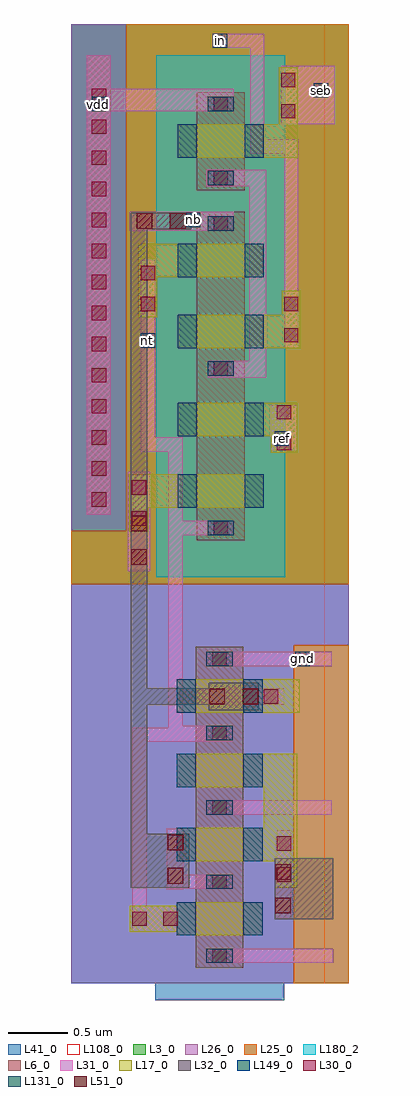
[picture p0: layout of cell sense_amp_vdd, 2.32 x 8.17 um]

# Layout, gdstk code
from math import pi, radians
import gdstk
lib = gdstk.Library(unit=1e-6, precision=1e-09)
def R(c, l, rs):  # rectangles x0, y0, x1, y1
    for r in rs: c.add(gdstk.rectangle(r[:2], r[2:], *l))
def A(c, l, x, y, w, h, nx, ny, dx, dy):  # array of equal rectangles
    R(c, l, [(x+i*dx, y+j*dy, x+i*dx+w, y+j*dy+h) for i in range(nx) for j in range(ny)])
L3_0 = (3, 0)
L6_0 = (6, 0)
L17_0 = (17, 0)
L25_0 = (25, 0)
L26_0 = (26, 0)
L30_0 = (30, 0)
L31_0 = (31, 0)
L32_0 = (32, 0)
L41_0 = (41, 0)
L51_0 = (51, 0)
L108_0 = (108, 0)
L131_0 = (131, 0)
L149_0 = (149, 0)
L180_2 = (180, 2)

pc_ct = lib.new_cell('pc_ct')
R(pc_ct, L30_0, [(0,0,0.12,0.12)])

nsvt25_cdns_585150321350 = lib.new_cell('nsvt25_CDNS_585150321350')
R(nsvt25_cdns_585150321350, L6_0, [(-0.27,0,0,0.4), (-0.27,0,0.55,0.4), (0.28,0,0.55,0.4)])
R(nsvt25_cdns_585150321350, L17_0, [(0,-0.16,0.28,0.56)])
R(nsvt25_cdns_585150321350, L26_0, [(-0.4,-0.36,0.68,0.76)])
R(nsvt25_cdns_585150321350, L31_0, [(-0.23,0.09,-0.11,0.31), (0.39,0.09,0.51,0.31)])
R(nsvt25_cdns_585150321350, L41_0, [(-0.54,-0.34,0.82,0.74)])
R(nsvt25_cdns_585150321350, L131_0, [(-0.23,0.09,-0.11,0.31), (0.39,0.09,0.51,0.31)])
R(nsvt25_cdns_585150321350, L149_0, [(0,-0.16,0.28,0), (0,0.4,0.28,0.56)])
r = gdstk.Reference(pc_ct, (0.39,0.14)); r.repetition = gdstk.Repetition(1, 1, v1=(0.26,0), v2=(0,0.26)); nsvt25_cdns_585150321350.add(r)
r = gdstk.Reference(pc_ct, (-0.23,0.14)); r.repetition = gdstk.Repetition(1, 1, v1=(0.26,0), v2=(0,0.26)); nsvt25_cdns_585150321350.add(r)
nsvt25_cdns_585150321350.add(gdstk.Label('d', (0.28,0), layer=6, texttype=0))
nsvt25_cdns_585150321350.add(gdstk.Label('s', (0,0), layer=6, texttype=0))
nsvt25_cdns_585150321350.add(gdstk.Label('d', (0.415,0.2), layer=127, texttype=0))
nsvt25_cdns_585150321350.add(gdstk.Label('s', (-0.135,0.2), layer=127, texttype=0))
nsvt25_cdns_585150321350.add(gdstk.Label('d', (0.45,0.2), layer=131, texttype=0))
nsvt25_cdns_585150321350.add(gdstk.Label('s', (-0.17,0.2), layer=131, texttype=0))
nsvt25_cdns_585150321350.add(gdstk.Label('g', (0.14,0.48), layer=149, texttype=0))
nsvt25_cdns_585150321350.add(gdstk.Label('g', (0.14,-0.08), layer=149, texttype=0))

psvt25_cdns_585150321351 = lib.new_cell('psvt25_CDNS_585150321351')
R(psvt25_cdns_585150321351, L3_0, [(-0.58,-0.34,0.86,0.74)])
R(psvt25_cdns_585150321351, L6_0, [(-0.27,0,0,0.4), (-0.27,0,0.55,0.4), (0.28,0,0.55,0.4)])
R(psvt25_cdns_585150321351, L17_0, [(0,-0.16,0.28,0.56)])
R(psvt25_cdns_585150321351, L31_0, [(-0.23,0.09,-0.11,0.31)])
R(psvt25_cdns_585150321351, L41_0, [(-0.58,-0.34,0.86,0.74)])
R(psvt25_cdns_585150321351, L131_0, [(-0.23,0.09,-0.11,0.31)])
R(psvt25_cdns_585150321351, L149_0, [(0,-0.16,0.28,0), (0,0.4,0.28,0.56)])
R(psvt25_cdns_585150321351, L180_2, [(-0.58,-0.34,0.86,0.74)])
r = gdstk.Reference(pc_ct, (-0.23,0.14)); r.repetition = gdstk.Repetition(1, 1, v1=(0.26,0), v2=(0,0.26)); psvt25_cdns_585150321351.add(r)
psvt25_cdns_585150321351.add(gdstk.Label('d', (0.28,0), layer=6, texttype=0))
psvt25_cdns_585150321351.add(gdstk.Label('s', (0,0), layer=6, texttype=0))
psvt25_cdns_585150321351.add(gdstk.Label('d', (0.415,0.2), layer=127, texttype=0))
psvt25_cdns_585150321351.add(gdstk.Label('s', (-0.135,0.2), layer=127, texttype=0))
psvt25_cdns_585150321351.add(gdstk.Label('s', (-0.17,0.2), layer=131, texttype=0))
psvt25_cdns_585150321351.add(gdstk.Label('g', (0.14,0.48), layer=149, texttype=0))
psvt25_cdns_585150321351.add(gdstk.Label('g', (0.14,-0.08), layer=149, texttype=0))
psvt25_cdns_585150321351.add(gdstk.Label('b', (0.14,0.2), layer=180, texttype=2))

psvt25_cdns_585150321352 = lib.new_cell('psvt25_CDNS_585150321352')
R(psvt25_cdns_585150321352, L6_0, [(-0.27,0,0,0.4), (-0.27,0,0.55,0.4), (0.28,0,0.55,0.4)])
R(psvt25_cdns_585150321352, L17_0, [(0,-0.16,0.28,0.56)])
R(psvt25_cdns_585150321352, L31_0, [(0.39,0.09,0.51,0.31)])
R(psvt25_cdns_585150321352, L41_0, [(-0.58,-0.34,0.86,0.74)])
R(psvt25_cdns_585150321352, L131_0, [(0.39,0.09,0.51,0.31)])
R(psvt25_cdns_585150321352, L149_0, [(0,-0.16,0.28,0), (0,0.4,0.28,0.56)])
R(psvt25_cdns_585150321352, L180_2, [(-0.58,-0.34,0.86,0.74)])
r = gdstk.Reference(pc_ct, (0.39,0.14)); r.repetition = gdstk.Repetition(1, 1, v1=(0.26,0), v2=(0,0.26)); psvt25_cdns_585150321352.add(r)
psvt25_cdns_585150321352.add(gdstk.Label('d', (0.28,0), layer=6, texttype=0))
psvt25_cdns_585150321352.add(gdstk.Label('s', (0,0), layer=6, texttype=0))
psvt25_cdns_585150321352.add(gdstk.Label('d', (0.415,0.2), layer=127, texttype=0))
psvt25_cdns_585150321352.add(gdstk.Label('s', (-0.135,0.2), layer=127, texttype=0))
psvt25_cdns_585150321352.add(gdstk.Label('d', (0.45,0.2), layer=131, texttype=0))
psvt25_cdns_585150321352.add(gdstk.Label('g', (0.14,0.48), layer=149, texttype=0))
psvt25_cdns_585150321352.add(gdstk.Label('g', (0.14,-0.08), layer=149, texttype=0))
psvt25_cdns_585150321352.add(gdstk.Label('b', (0.14,0.2), layer=180, texttype=2))

psvt25_cdns_585150321353 = lib.new_cell('psvt25_CDNS_585150321353')
R(psvt25_cdns_585150321353, L6_0, [(-0.27,0,0,0.4), (-0.27,0,0.55,0.4), (0.28,0,0.55,0.4)])
R(psvt25_cdns_585150321353, L17_0, [(0,-0.16,0.28,0.56)])
R(psvt25_cdns_585150321353, L31_0, [(-0.23,0.09,-0.11,0.31), (0.39,0.09,0.51,0.31)])
R(psvt25_cdns_585150321353, L41_0, [(-0.58,-0.34,0.86,0.74)])
R(psvt25_cdns_585150321353, L131_0, [(-0.23,0.09,-0.11,0.31), (0.39,0.09,0.51,0.31)])
R(psvt25_cdns_585150321353, L149_0, [(0,-0.16,0.28,0), (0,0.4,0.28,0.56)])
R(psvt25_cdns_585150321353, L180_2, [(-0.58,-0.34,0.86,0.74)])
r = gdstk.Reference(pc_ct, (0.39,0.14)); r.repetition = gdstk.Repetition(1, 1, v1=(0.26,0), v2=(0,0.26)); psvt25_cdns_585150321353.add(r)
r = gdstk.Reference(pc_ct, (-0.23,0.14)); r.repetition = gdstk.Repetition(1, 1, v1=(0.26,0), v2=(0,0.26)); psvt25_cdns_585150321353.add(r)
psvt25_cdns_585150321353.add(gdstk.Label('d', (0.28,0), layer=6, texttype=0))
psvt25_cdns_585150321353.add(gdstk.Label('s', (0,0), layer=6, texttype=0))
psvt25_cdns_585150321353.add(gdstk.Label('d', (0.415,0.2), layer=127, texttype=0))
psvt25_cdns_585150321353.add(gdstk.Label('s', (-0.135,0.2), layer=127, texttype=0))
psvt25_cdns_585150321353.add(gdstk.Label('d', (0.45,0.2), layer=131, texttype=0))
psvt25_cdns_585150321353.add(gdstk.Label('s', (-0.17,0.2), layer=131, texttype=0))
psvt25_cdns_585150321353.add(gdstk.Label('g', (0.14,0.48), layer=149, texttype=0))
psvt25_cdns_585150321353.add(gdstk.Label('g', (0.14,-0.08), layer=149, texttype=0))
psvt25_cdns_585150321353.add(gdstk.Label('b', (0.14,0.2), layer=180, texttype=2))

psvt25_cdns_585150321354 = lib.new_cell('psvt25_CDNS_585150321354')
R(psvt25_cdns_585150321354, L3_0, [(-0.58,-0.34,0.86,0.74)])
R(psvt25_cdns_585150321354, L6_0, [(-0.27,0,0,0.4), (-0.27,0,0.55,0.4), (0.28,0,0.55,0.4)])
R(psvt25_cdns_585150321354, L17_0, [(0,-0.16,0.28,0.56)])
R(psvt25_cdns_585150321354, L41_0, [(-0.58,-0.34,0.86,0.74)])
R(psvt25_cdns_585150321354, L149_0, [(0,-0.16,0.28,0), (0,0.4,0.28,0.56)])
R(psvt25_cdns_585150321354, L180_2, [(-0.58,-0.34,0.86,0.74)])
psvt25_cdns_585150321354.add(gdstk.Label('d', (0.28,0), layer=6, texttype=0))
psvt25_cdns_585150321354.add(gdstk.Label('s', (0,0), layer=6, texttype=0))
psvt25_cdns_585150321354.add(gdstk.Label('d', (0.415,0.2), layer=127, texttype=0))
psvt25_cdns_585150321354.add(gdstk.Label('s', (-0.135,0.2), layer=127, texttype=0))
psvt25_cdns_585150321354.add(gdstk.Label('g', (0.14,0.48), layer=149, texttype=0))
psvt25_cdns_585150321354.add(gdstk.Label('g', (0.14,-0.08), layer=149, texttype=0))
psvt25_cdns_585150321354.add(gdstk.Label('b', (0.14,0.2), layer=180, texttype=2))

nsvt25_cdns_585150321355 = lib.new_cell('nsvt25_CDNS_585150321355')
R(nsvt25_cdns_585150321355, L6_0, [(-0.27,0,0,0.4), (-0.27,0,0.55,0.4), (0.28,0,0.55,0.4)])
R(nsvt25_cdns_585150321355, L17_0, [(0,-0.16,0.28,0.56)])
R(nsvt25_cdns_585150321355, L26_0, [(-0.4,-0.36,0.68,0.76)])
R(nsvt25_cdns_585150321355, L31_0, [(0.39,0.09,0.51,0.31)])
R(nsvt25_cdns_585150321355, L41_0, [(-0.54,-0.34,0.82,0.74)])
R(nsvt25_cdns_585150321355, L131_0, [(0.39,0.09,0.51,0.31)])
R(nsvt25_cdns_585150321355, L149_0, [(0,-0.16,0.28,0), (0,0.4,0.28,0.56)])
r = gdstk.Reference(pc_ct, (0.39,0.14)); r.repetition = gdstk.Repetition(1, 1, v1=(0.26,0), v2=(0,0.26)); nsvt25_cdns_585150321355.add(r)
nsvt25_cdns_585150321355.add(gdstk.Label('d', (0.28,0), layer=6, texttype=0))
nsvt25_cdns_585150321355.add(gdstk.Label('s', (0,0), layer=6, texttype=0))
nsvt25_cdns_585150321355.add(gdstk.Label('d', (0.415,0.2), layer=127, texttype=0))
nsvt25_cdns_585150321355.add(gdstk.Label('s', (-0.135,0.2), layer=127, texttype=0))
nsvt25_cdns_585150321355.add(gdstk.Label('d', (0.45,0.2), layer=131, texttype=0))
nsvt25_cdns_585150321355.add(gdstk.Label('g', (0.14,0.48), layer=149, texttype=0))
nsvt25_cdns_585150321355.add(gdstk.Label('g', (0.14,-0.08), layer=149, texttype=0))

m1__po_cdns_585150321350 = lib.new_cell('M1__PO_CDNS_585150321350')
R(m1__po_cdns_585150321350, L17_0, [(-0.21,-0.11,0.21,0.11)])
R(m1__po_cdns_585150321350, L30_0, [(-0.19,-0.06,-0.07,0.06), (0.07,-0.06,0.19,0.06)])
R(m1__po_cdns_585150321350, L31_0, [(-0.19,-0.11,0.19,0.11)])

m2_m1_g_cdns_58515032135 = lib.new_cell('M2_M1_G_CDNS_585150321351')
R(m2_m1_g_cdns_58515032135, L31_0, [(-0.255,-0.07,0.255,0.07)])
R(m2_m1_g_cdns_58515032135, L32_0, [(-0.255,-0.07,0.255,0.07)])
R(m2_m1_g_cdns_58515032135, L51_0, [(-0.205,-0.065,-0.075,0.065), (0.075,-0.065,0.205,0.065)])

m1__po_cdns_585150321352 = lib.new_cell('M1__PO_CDNS_585150321352')
R(m1__po_cdns_585150321352, L17_0, [(-0.08,-0.24,0.08,0.24)])
R(m1__po_cdns_585150321352, L30_0, [(-0.06,-0.19,0.06,-0.07), (-0.06,0.07,0.06,0.19)])
R(m1__po_cdns_585150321352, L31_0, [(-0.06,-0.24,0.06,0.24)])

m2_m1_s_cdns_58515032135 = lib.new_cell('M2_M1_S_CDNS_585150321353')
R(m2_m1_s_cdns_58515032135, L31_0, [(-0.07,-0.255,0.07,0.255)])
R(m2_m1_s_cdns_58515032135, L32_0, [(-0.115,-0.21,0.115,0.21)])
R(m2_m1_s_cdns_58515032135, L51_0, [(-0.065,-0.205,0.065,-0.075), (-0.065,0.075,0.065,0.205)])

m1__po_cdns_585150321354 = lib.new_cell('M1__PO_CDNS_585150321354')
R(m1__po_cdns_585150321354, L17_0, [(-0.08,-0.11,0.08,0.11)])
R(m1__po_cdns_585150321354, L30_0, [(-0.06,-0.06,0.06,0.06)])
R(m1__po_cdns_585150321354, L31_0, [(-0.06,-0.11,0.06,0.11)])

sense_amp_vdd = lib.new_cell('sense_amp_vdd')
R(sense_amp_vdd, L3_0, [(0,-4.46,2.32,0.125), (0,0.125,2.32,0.23)])
R(sense_amp_vdd, L17_0, [(1.86,-7,1.89,-6.98), (1.85,-6.98,1.89,-6.78), (1.6,-5.535,1.91,-5.255), (0.64,-3.82,0.89,-3.54), (1.61,-3.22,1.67,-2.94), (1.75,-2.485,1.76,-2.205), (0.72,-1.89,0.89,-1.61), (0.56,-1.745,0.72,-1.61)])
R(sense_amp_vdd, L25_0, [(1.86,-7.8,2.32,-7.79), (1.86,-7.79,2.32,-4.975), (1.86,-4.975,2.32,-4.97), (0,-4.46,2.32,-4.01), (0.46,-4.01,2.32,0.125), (0.46,0.125,2.32,0.23)])
R(sense_amp_vdd, L26_0, [(0,-7.8,1.8,-4.97), (1.8,-7.8,1.86,-4.97), (0,-4.97,2.32,-4.46), (0,0.1,0.46,0.125), (0,0.125,0.46,0.23)])
A(sense_amp_vdd, L30_0, 0.17, -3.81, 0.12, 0.12, 1, 14, 0, 0.26)
R(sense_amp_vdd, L31_0, [(1.17,-5.78,1.35,-5.765), (0.9,-5.66,1.13,-5.65), (0.9,-5.65,1.13,-5.645), (0.47,-4.35,0.66,-3.8), (0.47,-3.8,0.66,-3.52), (1.14,-2.73,1.36,-2.59), (0.49,-1.5,1.36,-1.34), (1.13,-1.13,1.275,-0.99), (1.875,-0.61,1.975,-0.12), (1.975,-0.61,2.205,-0.54), (2.03,-0.61,2.15,-0.54), (1.975,-0.54,2.205,-0.12), (0.13,-0.5,0.33,-0.31), (0.33,-0.38,1.36,-0.31), (1.755,-0.13,1.875,-0.12)])
R(sense_amp_vdd, L32_0, [(1.84,-7.265,2.19,-6.755), (0.635,-7,0.755,-6.55), (0.755,-7,0.985,-6.97)])
R(sense_amp_vdd, L41_0, [(0,-7.8,2.32,0.23)])
R(sense_amp_vdd, L108_0, [(0,-7.8,2.12,0.23)])
R(sense_amp_vdd, L131_0, [(1.875,-5.145,1.995,-5.025), (1.7,-3.3,1.82,-3.18), (0.58,-2.48,0.7,-2.36), (0.96,-1.47,1.08,-1.35), (0.17,-0.5,0.29,-0.38), (2.03,-0.385,2.15,-0.265), (1.185,0.03,1.305,0.15)])
sense_amp_vdd.add(gdstk.FlexPath([(1.67,-5.4),(1.23,-5.4)], 0.14, ends=(0.11, 0), simple_path=True, layer=31, datatype=0))  # L31_0
sense_amp_vdd.add(gdstk.FlexPath([(1.555,-0.795),(1.555,0.09)], 0.12, ends="extended", simple_path=True, layer=31, datatype=0))  # L31_0
sense_amp_vdd.add(gdstk.FlexPath([(1.295,-6.33),(2.18,-6.33)], 0.12, ends="flush", simple_path=True, layer=31, datatype=0))  # L31_0
sense_amp_vdd.add(gdstk.FlexPath([(1.315,-7.57),(2.19,-7.57)], 0.12, ends="flush", simple_path=True, layer=31, datatype=0))  # L31_0
sense_amp_vdd.add(gdstk.FlexPath([(1.84,-0.795),(1.555,-0.795)], 0.12, ends="extended", simple_path=True, layer=31, datatype=0))  # L31_0
sense_amp_vdd.add(gdstk.FlexPath([(1.14,-0.44),(0.23,-0.44)], 0.12, ends="flush", simple_path=True, layer=31, datatype=0))  # L31_0
sense_amp_vdd.add(gdstk.FlexPath([(1.325,-5.085),(2.18,-5.085)], 0.12, ends="flush", simple_path=True, layer=31, datatype=0))  # L31_0
sense_amp_vdd.add(gdstk.FlexPath([(1.555,0.09),(1.185,0.09)], 0.12, ends=(0.06, 0), simple_path=True, layer=31, datatype=0))  # L31_0
sense_amp_vdd.add(gdstk.FlexPath([(0.87,-5.72),(1.17,-5.72)], 0.12, ends=(0.06, 0), simple_path=True, layer=31, datatype=0))  # L31_0
sense_amp_vdd.add(gdstk.FlexPath([(1.84,-2.005),(1.84,-0.795)], 0.12, ends=(0, 0.06), simple_path=True, layer=31, datatype=0))  # L31_0
sense_amp_vdd.add(gdstk.FlexPath([(0.87,-3.99),(0.87,-5.72)], 0.12, ends="extended", simple_path=True, layer=31, datatype=0))  # L31_0
sense_amp_vdd.add(gdstk.FlexPath([(1.275,-1.06),(1.56,-1.06)], 0.14, ends=(0, 0.07), simple_path=True, layer=31, datatype=0))  # L31_0
sense_amp_vdd.add(gdstk.FlexPath([(1.56,-1.06),(1.56,-2.66)], 0.14, ends="extended", simple_path=True, layer=31, datatype=0))  # L31_0
sense_amp_vdd.add(gdstk.FlexPath([(1.56,-2.66),(1.36,-2.66)], 0.14, ends=(0.07, 0), simple_path=True, layer=31, datatype=0))  # L31_0
sense_amp_vdd.add(gdstk.FlexPath([(0.23,-3.88),(0.23,-0.03)], 0.2, ends="flush", simple_path=True, layer=31, datatype=0))  # L31_0
sense_amp_vdd.add(gdstk.FlexPath([(1.145,-6.95),(0.87,-6.95)], 0.12, ends=(0, 0.06), simple_path=True, layer=31, datatype=0))  # L31_0
sense_amp_vdd.add(gdstk.FlexPath([(0.64,-1.85),(0.64,-3.29)], 0.12, ends=(0, 0.06), simple_path=True, layer=31, datatype=0))  # L31_0
sense_amp_vdd.add(gdstk.FlexPath([(0.87,-3.99),(1.14,-3.99)], 0.12, ends=(0.06, 0), simple_path=True, layer=31, datatype=0))  # L31_0
sense_amp_vdd.add(gdstk.FlexPath([(1.14,-1.44),(0.5,-1.44)], 0.12, ends="flush", simple_path=True, layer=31, datatype=0))  # L31_0
sense_amp_vdd.add(gdstk.FlexPath([(0.64,-3.29),(0.87,-3.29)], 0.12, ends="extended", simple_path=True, layer=31, datatype=0))  # L31_0
sense_amp_vdd.add(gdstk.FlexPath([(0.87,-3.29),(0.87,-3.99)], 0.12, ends="extended", simple_path=True, layer=31, datatype=0))  # L31_0
sense_amp_vdd.add(gdstk.FlexPath([(0.87,-5.72),(0.57,-5.72)], 0.12, ends="extended", simple_path=True, layer=31, datatype=0))  # L31_0
sense_amp_vdd.add(gdstk.FlexPath([(0.57,-5.72),(0.57,-7.26)], 0.12, ends="extended", simple_path=True, layer=31, datatype=0))  # L31_0
sense_amp_vdd.add(gdstk.FlexPath([(0.57,-7.26),(0.7,-7.26)], 0.12, ends=(0.06, 0), simple_path=True, layer=31, datatype=0))  # L31_0
sense_amp_vdd.add(gdstk.FlexPath([(0.87,-6.95),(0.87,-6.76)], 0.12, ends=(0.06, 0), simple_path=True, layer=31, datatype=0))  # L31_0
sense_amp_vdd.add(gdstk.FlexPath([(0.23,-3.88),(0.23,-0.03)], 0.2, ends="flush", simple_path=True, layer=6, datatype=0))  # L6_0
sense_amp_vdd.add(gdstk.FlexPath([(0.23,-4.01),(0.23,0.1)], 0.46, ends="flush", simple_path=True, layer=26, datatype=0))  # L26_0
sense_amp_vdd.add(gdstk.FlexPath([(1.61,-0.75),(1.895,-0.75)], 0.28, ends="flush", simple_path=True, layer=17, datatype=0))  # L17_0
sense_amp_vdd.add(gdstk.FlexPath([(1.61,-2.345),(1.75,-2.345)], 0.28, ends="flush", simple_path=True, layer=17, datatype=0))  # L17_0
sense_amp_vdd.add(gdstk.FlexPath([(1.6,-6.02),(1.75,-6.02)], 0.28, ends=(0, 0.14), simple_path=True, layer=17, datatype=0))  # L17_0
sense_amp_vdd.add(gdstk.FlexPath([(1.75,-6.02),(1.75,-6.64)], 0.28, ends="extended", simple_path=True, layer=17, datatype=0))  # L17_0
sense_amp_vdd.add(gdstk.FlexPath([(1.75,-6.64),(1.6,-6.64)], 0.28, ends=(0.14, 0), simple_path=True, layer=17, datatype=0))  # L17_0
sense_amp_vdd.add(gdstk.FlexPath([(0.565,-1.42),(0.565,-5.4)], 0.14, ends="extended", simple_path=True, layer=32, datatype=0))  # L32_0
sense_amp_vdd.add(gdstk.FlexPath([(1.36,-5.4),(1.36,-5.41)], 0.14, ends=(0.07, 0), simple_path=True, layer=32, datatype=0))  # L32_0
sense_amp_vdd.add(gdstk.FlexPath([(0.565,-5.4),(1.36,-5.4)], 0.14, ends="extended", simple_path=True, layer=32, datatype=0))  # L32_0
sense_amp_vdd.add(gdstk.FlexPath([(0.565,-5.4),(0.565,-7)], 0.14, ends=(0.07, 0), simple_path=True, layer=32, datatype=0))  # L32_0
sense_amp_vdd.add(gdstk.FlexPath([(0.75,-1.42),(0.565,-1.42)], 0.14, ends=(0, 0.07), simple_path=True, layer=32, datatype=0))  # L32_0
sense_amp_vdd.add(gdstk.Reference(nsvt25_cdns_585150321350, (1.04,-6.5), rotation=3*pi/2))
sense_amp_vdd.add(gdstk.Reference(nsvt25_cdns_585150321350, (1.04,-5.255), rotation=3*pi/2))
sense_amp_vdd.add(gdstk.Reference(nsvt25_cdns_585150321350, (1.04,-7.12), rotation=3*pi/2))
sense_amp_vdd.add(gdstk.Reference(psvt25_cdns_585150321351, (1.45,-2.485), rotation=pi/2))
sense_amp_vdd.add(gdstk.Reference(psvt25_cdns_585150321351, (1.05,-1.61), rotation=3*pi/2))
sense_amp_vdd.add(gdstk.Reference(psvt25_cdns_585150321352, (1.05,-3.54), rotation=3*pi/2))
sense_amp_vdd.add(gdstk.Reference(psvt25_cdns_585150321353, (1.05,-0.61), rotation=3*pi/2))
sense_amp_vdd.add(gdstk.Reference(psvt25_cdns_585150321354, (1.45,-3.22), rotation=pi/2))
sense_amp_vdd.add(gdstk.Reference(nsvt25_cdns_585150321355, (1.04,-5.88), rotation=3*pi/2))
sense_amp_vdd.add(gdstk.Reference(m1__po_cdns_585150321350, (1.78,-3.15), rotation=pi/2))
sense_amp_vdd.add(gdstk.Reference(m1__po_cdns_585150321350, (0.7,-7.26)))
sense_amp_vdd.add(gdstk.Reference(m2_m1_g_cdns_58515032135, (1.77,-7.01), rotation=pi/2))
sense_amp_vdd.add(gdstk.Reference(m2_m1_g_cdns_58515032135, (0.565,-4.09), rotation=pi/2))
sense_amp_vdd.add(gdstk.Reference(m2_m1_g_cdns_58515032135, (0.75,-1.42)))
sense_amp_vdd.add(gdstk.Reference(m1__po_cdns_585150321352, (1.815,-0.37), rotation=pi))
sense_amp_vdd.add(gdstk.Reference(m1__po_cdns_585150321352, (1.78,-6.76), rotation=pi))
sense_amp_vdd.add(gdstk.Reference(m1__po_cdns_585150321352, (1.84,-2.245), rotation=pi))
sense_amp_vdd.add(gdstk.Reference(m1__po_cdns_585150321352, (0.64,-1.985)))
sense_amp_vdd.add(gdstk.Reference(m1__po_cdns_585150321352, (0.565,-3.78)))
sense_amp_vdd.add(gdstk.Reference(m2_m1_s_cdns_58515032135, (1.36,-5.4), rotation=pi/2))
sense_amp_vdd.add(gdstk.Reference(m2_m1_s_cdns_58515032135, (0.87,-6.76)))
sense_amp_vdd.add(gdstk.Reference(m1__po_cdns_585150321354, (1.67,-5.4), rotation=3*pi/2))
sense_amp_vdd.add(gdstk.Label('nt', (0.64,-2.42), layer=131, texttype=0))
sense_amp_vdd.add(gdstk.Label('nb', (1.02,-1.41), layer=131, texttype=0))
sense_amp_vdd.add(gdstk.Label('seb', (2.09,-0.325), layer=131, texttype=0))
sense_amp_vdd.add(gdstk.Label('vdd', (0.23,-0.44), layer=131, texttype=0))
sense_amp_vdd.add(gdstk.Label('gnd', (1.935,-5.085), layer=131, texttype=0))
sense_amp_vdd.add(gdstk.Label('ref', (1.76,-3.24), layer=131, texttype=0))
sense_amp_vdd.add(gdstk.Label('in', (1.245,0.09), layer=131, texttype=0))

lib.write_gds('sense_amp_vdd.gds')
